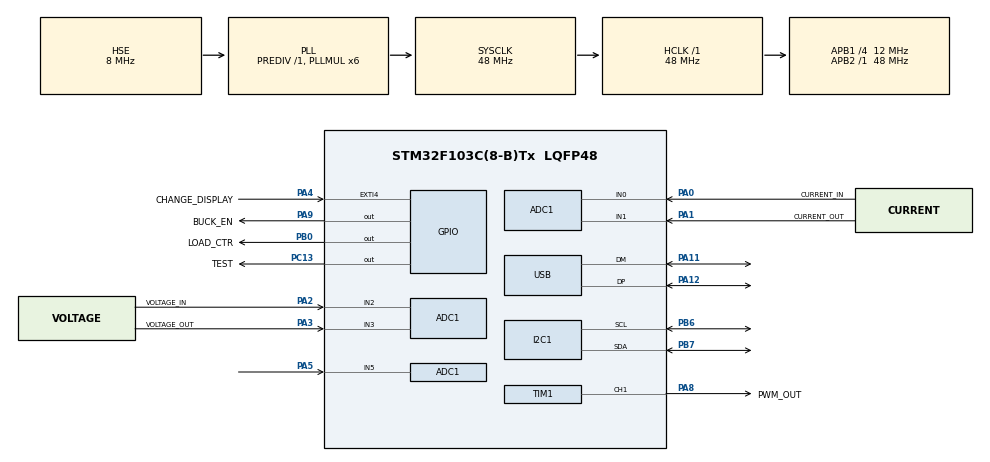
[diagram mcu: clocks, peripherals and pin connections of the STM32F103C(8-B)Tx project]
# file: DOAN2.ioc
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ADC1.Channel-7\#ChannelRegularConversion=ADC_CHANNEL_2
ADC1.Channel-8\#ChannelRegularConversion=ADC_CHANNEL_3
ADC1.NbrOfConversion=2
ADC1.NbrOfConversionFlag=1
ADC1.Rank-7\#ChannelRegularConversion=1
ADC1.Rank-8\#ChannelRegularConversion=2
ADC1.SamplingTime-7\#ChannelRegularConversion=ADC_SAMPLETIME_1CYCLE_5
ADC1.SamplingTime-8\#ChannelRegularConversion=ADC_SAMPLETIME_1CYCLE_5
ADC1.master=1
Dma.ADC1.0.Direction=DMA_PERIPH_TO_MEMORY
Dma.ADC1.0.Instance=DMA1_Channel1
Dma.ADC1.0.MemDataAlignment=DMA_MDATAALIGN_WORD
Dma.ADC1.0.MemInc=DMA_MINC_ENABLE
Dma.ADC1.0.Mode=DMA_CIRCULAR
Dma.ADC1.0.PeriphDataAlignment=DMA_PDATAALIGN_WORD
Dma.ADC1.0.PeriphInc=DMA_PINC_DISABLE
Dma.ADC1.0.Priority=DMA_PRIORITY_LOW
Dma.Request0=ADC1
I2C1.I2C_Mode=I2C_Standard
Mcu.Family=STM32F1
Mcu.Name=STM32F103C(8-B)Tx
Mcu.Package=LQFP48
NVIC.DMA1_Channel1_IRQn=true\:0\:0\:false\:false\:true\:false\:true\:true
NVIC.EXTI4_IRQn=true\:0\:0\:false\:false\:true\:true\:true\:true
NVIC.PriorityGroup=NVIC_PRIORITYGROUP_4
PA0-WKUP.GPIO_Label=CURRENT_IN
PA0-WKUP.Signal=ADCx_IN0
PA1.GPIO_Label=CURRENT_OUT
PA1.Signal=ADCx_IN1
PA11.Mode=Device
PA11.Signal=USB_DM
PA12.Mode=Device
PA12.Signal=USB_DP
PA13.Mode=Serial_Wire
PA13.Signal=SYS_JTMS-SWDIO
PA14.Mode=Serial_Wire
PA14.Signal=SYS_JTCK-SWCLK
PA2.GPIO_Label=VOLTAGE_IN
PA2.Signal=ADCx_IN2
PA3.GPIO_Label=VOLTAGE_OUT
PA3.Signal=ADCx_IN3
PA4.GPIO_Label=CHANGE_DISPLAY
PA4.GPIO_ModeDefaultEXTI=GPIO_MODE_IT_FALLING
PA4.GPIO_PuPd=GPIO_PULLUP
PA4.Signal=GPXTI4
PA5.Signal=ADCx_IN5
PA8.GPIO_Label=PWM_OUT
PA8.Signal=S_TIM1_CH1
PA9.GPIO_Label=BUCK_EN
PA9.Signal=GPIO_Output
PB0.GPIO_Label=LOAD_CTR
PB0.Signal=GPIO_Output
PB6.Mode=I2C
PB6.Signal=I2C1_SCL
PB7.Mode=I2C
PB7.Signal=I2C1_SDA
PC13-TAMPER-RTC.GPIO_Label=TEST
PC13-TAMPER-RTC.Signal=GPIO_Output
PD0-OSC_IN.Mode=HSE-External-Oscillator
PD0-OSC_IN.Signal=RCC_OSC_IN
PD1-OSC_OUT.Mode=HSE-External-Oscillator
PD1-OSC_OUT.Signal=RCC_OSC_OUT
ProjectManager.HeapSize=0x200
ProjectManager.StackSize=0x400
ProjectManager.TargetToolchain=STM32CubeIDE
RCC.ADCPresc=RCC_ADCPCLK2_DIV4
RCC.AHBFreq_Value=48000000
RCC.APB1CLKDivider=RCC_HCLK_DIV4
RCC.APB1Freq_Value=12000000
RCC.APB1TimFreq_Value=24000000
RCC.APB2Freq_Value=48000000
RCC.APB2TimFreq_Value=48000000
RCC.HCLKFreq_Value=48000000
RCC.PLLMUL=RCC_PLL_MUL6
RCC.SYSCLKFreq_VALUE=48000000
RCC.SYSCLKSource=RCC_SYSCLKSOURCE_PLLCLK
RCC.USBFreq_Value=48000000
SH.ADCx_IN0.0=ADC1_IN0,IN0
SH.ADCx_IN1.0=ADC1_IN1,IN1
SH.ADCx_IN2.0=ADC1_IN2,IN2
SH.ADCx_IN3.0=ADC1_IN3,IN3
SH.ADCx_IN5.0=ADC1_IN5,IN5
SH.S_TIM1_CH1.0=TIM1_CH1,PWM Generation1 CH1
TIM1.Channel-PWM\ Generation1\ CH1=TIM_CHANNEL_1
TIM1.Period=100-1
TIM1.Prescaler=1
VP_TIM1_VS_ClockSourceINT.Mode=Internal
board=custom

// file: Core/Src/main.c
/* USER CODE BEGIN Header */
/**
  ******************************************************************************
  * @file           : main.c
  * @brief          : Main program body
  ******************************************************************************
  * @attention
  *
  * Copyright (c) 2024 STMicroelectronics.
  * All rights reserved.
  *
  * This software is licensed under terms that can be found in the LICENSE file
  * in the root directory of this software component.
  * If no LICENSE file comes with this software, it is provided AS-IS.
  *
  ******************************************************************************
  */
/* USER CODE END Header */
#include "main.h"

/* USER CODE BEGIN PTD */
state_display display = POWER_DISPLAY;
/* USER CODE END PTD */

ADC_HandleTypeDef hadc1;
DMA_HandleTypeDef hdma_adc1;

I2C_HandleTypeDef hi2c1;

TIM_HandleTypeDef htim1;

PCD_HandleTypeDef hpcd_USB_FS;

void SystemClock_Config(void);
static void MX_GPIO_Init(void);
static void MX_DMA_Init(void);
static void MX_ADC1_Init(void);
static void MX_I2C1_Init(void);
static void MX_TIM1_Init(void);
static void MX_USB_PCD_Init(void);
/* USER CODE BEGIN PFP */
void HAL_GPIO_EXTI_Callback(uint16_t GPIO_Pin);
/* USER CODE END PFP */

/* USER CODE BEGIN 0 */
uint32_t adc_value[2];
uint8_t dutyCycle = 70;
float currentOut,currentIn,voltageIn,voltageOut;
float Power_Out_Previous = 0,Power_Out_Current = 0;
float Power_In_Current = 0;
  /* NOTE : This function should not be modified. When the callback is needed,
            function HAL_ADC_ConvCpltCallback must be implemented in the user file.
   */
/* USER CODE END 0 */

int main(void)
{

  /* MCU Configuration--------------------------------------------------------*/

  /* Reset of all peripherals, Initializes the Flash interface and the Systick. */
  HAL_Init();

  /* Configure the system clock */
  SystemClock_Config();

  /* Initialize all configured peripherals */
  MX_GPIO_Init();
  MX_DMA_Init();
  MX_ADC1_Init();
  MX_I2C1_Init();
  MX_TIM1_Init();
  MX_USB_PCD_Init();
  /* USER CODE BEGIN 2 */
  lcd_init();
  lcd_clear_display();
  PWM_Control(dutyCycle,100000);
  PWM_Enable();

  //PWM_Control(50, 1);

  /* USER CODE END 2 */

  /* Infinite loop */
  while (1)
  {

    /* USER CODE BEGIN 3 */

	  loadControl(0);
	  HAL_ADC_Start_DMA(&hadc1,adc_value, 2);
	 // currentIn = getCurrentIn(adc_value[0]);
	  //currentOut = ((float)adc_value[1]/4096)*3.3;
	  voltageIn =  ((float)adc_value[0]/4096)*3.3*5.68;
	  voltageOut = ((float)adc_value[1]/4096)*3.3*5.68;
	  if(voltageOut <2)
	  {
		  voltageOut = 0;
	  }
	  if(voltageIn < 2)
	  {
		  voltageIn = 0;
	  }
	  Power_Out_Current = voltageOut * currentOut;
	  Power_In_Current = voltageIn * currentIn;

	  int Voltage_Out_N = voltageOut/1;
	  int Voltage_Out_T = ((voltageOut - Voltage_Out_N)*100)/1;
	  int Voltage_In_N = voltageIn/1;
	  int Voltage_In_T = ((voltageIn - Voltage_In_N)*100)/1;

	  /*
	  int Power_Out_Current_N = Power_Out_Current/1;
	  int Power_Out_Current_T = ((Power_Out_Current - Power_Out_Current_N)*100)/1;
	  int Power_In_Current_N = Power_In_Current/1;
	  int Power_In_Current_T = ((Power_In_Current - Power_In_Current_T)*100)/1;

	  if(Power_Out_Current > Power_Out_Previous)
	  {
		  dutyCycle = dutyCycle + 1;
	  }
	  else
	  {
		  dutyCycle = dutyCycle - 1;
	  }
	  */

	  Power_Out_Previous = Power_Out_Current;
	  PWM_Control(dutyCycle, 100000);

	  lcd_display(Voltage_In_N,Voltage_In_T,Voltage_Out_N,Voltage_Out_T);
	  HAL_Delay(1000);
	  if(voltageIn >= 15 && voltageIn <=18.5)
	  {
		  buckControl(1);
	  }
	  else
	  {
		  buckControl(0);
	  }
  }
  /* USER CODE END 3 */
}

void SystemClock_Config(void)
{
  RCC_OscInitTypeDef RCC_OscInitStruct = {0};
  RCC_ClkInitTypeDef RCC_ClkInitStruct = {0};
  RCC_PeriphCLKInitTypeDef PeriphClkInit = {0};

  /** Initializes the RCC Oscillators according to the specified parameters
  * in the RCC_OscInitTypeDef structure.
  */
  RCC_OscInitStruct.OscillatorType = RCC_OSCILLATORTYPE_HSE;
  RCC_OscInitStruct.HSEState = RCC_HSE_ON;
  RCC_OscInitStruct.HSEPredivValue = RCC_HSE_PREDIV_DIV1;
  RCC_OscInitStruct.HSIState = RCC_HSI_ON;
  RCC_OscInitStruct.PLL.PLLState = RCC_PLL_ON;
  RCC_OscInitStruct.PLL.PLLSource = RCC_PLLSOURCE_HSE;
  RCC_OscInitStruct.PLL.PLLMUL = RCC_PLL_MUL6;
  if (HAL_RCC_OscConfig(&RCC_OscInitStruct) != HAL_OK)
  {
    Error_Handler();
  }

  /** Initializes the CPU, AHB and APB buses clocks
  */
  RCC_ClkInitStruct.ClockType = RCC_CLOCKTYPE_HCLK|RCC_CLOCKTYPE_SYSCLK
                              |RCC_CLOCKTYPE_PCLK1|RCC_CLOCKTYPE_PCLK2;
  RCC_ClkInitStruct.SYSCLKSource = RCC_SYSCLKSOURCE_PLLCLK;
  RCC_ClkInitStruct.AHBCLKDivider = RCC_SYSCLK_DIV1;
  RCC_ClkInitStruct.APB1CLKDivider = RCC_HCLK_DIV4;
  RCC_ClkInitStruct.APB2CLKDivider = RCC_HCLK_DIV1;

  if (HAL_RCC_ClockConfig(&RCC_ClkInitStruct, FLASH_LATENCY_1) != HAL_OK)
  {
    Error_Handler();
  }
  PeriphClkInit.PeriphClockSelection = RCC_PERIPHCLK_ADC|RCC_PERIPHCLK_USB;
  PeriphClkInit.AdcClockSelection = RCC_ADCPCLK2_DIV4;
  PeriphClkInit.UsbClockSelection = RCC_USBCLKSOURCE_PLL;
  if (HAL_RCCEx_PeriphCLKConfig(&PeriphClkInit) != HAL_OK)
  {
    Error_Handler();
  }
}

static void MX_ADC1_Init(void)
{

  ADC_ChannelConfTypeDef sConfig = {0};

  /** Common config
  */
  hadc1.Instance = ADC1;
  hadc1.Init.ScanConvMode = ADC_SCAN_ENABLE;
  hadc1.Init.ContinuousConvMode = DISABLE;
  hadc1.Init.DiscontinuousConvMode = DISABLE;
  hadc1.Init.ExternalTrigConv = ADC_SOFTWARE_START;
  hadc1.Init.DataAlign = ADC_DATAALIGN_RIGHT;
  hadc1.Init.NbrOfConversion = 2;
  if (HAL_ADC_Init(&hadc1) != HAL_OK)
  {
    Error_Handler();
  }

  /** Configure Regular Channel
  */
  sConfig.Channel = ADC_CHANNEL_2;
  sConfig.Rank = ADC_REGULAR_RANK_1;
  sConfig.SamplingTime = ADC_SAMPLETIME_1CYCLE_5;
  if (HAL_ADC_ConfigChannel(&hadc1, &sConfig) != HAL_OK)
  {
    Error_Handler();
  }

  /** Configure Regular Channel
  */
  sConfig.Channel = ADC_CHANNEL_3;
  sConfig.Rank = ADC_REGULAR_RANK_2;
  if (HAL_ADC_ConfigChannel(&hadc1, &sConfig) != HAL_OK)
  {
    Error_Handler();
  }

}

static void MX_I2C1_Init(void)
{

  hi2c1.Instance = I2C1;
  hi2c1.Init.ClockSpeed = 100000;
  hi2c1.Init.DutyCycle = I2C_DUTYCYCLE_2;
  hi2c1.Init.OwnAddress1 = 0;
  hi2c1.Init.AddressingMode = I2C_ADDRESSINGMODE_7BIT;
  hi2c1.Init.DualAddressMode = I2C_DUALADDRESS_DISABLE;
  hi2c1.Init.OwnAddress2 = 0;
  hi2c1.Init.GeneralCallMode = I2C_GENERALCALL_DISABLE;
  hi2c1.Init.NoStretchMode = I2C_NOSTRETCH_DISABLE;
  if (HAL_I2C_Init(&hi2c1) != HAL_OK)
  {
    Error_Handler();
  }

}

static void MX_TIM1_Init(void)
{

  TIM_ClockConfigTypeDef sClockSourceConfig = {0};
  TIM_MasterConfigTypeDef sMasterConfig = {0};
  TIM_OC_InitTypeDef sConfigOC = {0};
  TIM_BreakDeadTimeConfigTypeDef sBreakDeadTimeConfig = {0};

  htim1.Instance = TIM1;
  htim1.Init.Prescaler = 1;
  htim1.Init.CounterMode = TIM_COUNTERMODE_UP;
  htim1.Init.Period = 100-1;
  htim1.Init.ClockDivision = TIM_CLOCKDIVISION_DIV1;
  htim1.Init.RepetitionCounter = 0;
  htim1.Init.AutoReloadPreload = TIM_AUTORELOAD_PRELOAD_DISABLE;
  if (HAL_TIM_Base_Init(&htim1) != HAL_OK)
  {
    Error_Handler();
  }
  sClockSourceConfig.ClockSource = TIM_CLOCKSOURCE_INTERNAL;
  if (HAL_TIM_ConfigClockSource(&htim1, &sClockSourceConfig) != HAL_OK)
  {
    Error_Handler();
  }
  if (HAL_TIM_PWM_Init(&htim1) != HAL_OK)
  {
    Error_Handler();
  }
  sMasterConfig.MasterOutputTrigger = TIM_TRGO_RESET;
  sMasterConfig.MasterSlaveMode = TIM_MASTERSLAVEMODE_DISABLE;
  if (HAL_TIMEx_MasterConfigSynchronization(&htim1, &sMasterConfig) != HAL_OK)
  {
    Error_Handler();
  }
  sConfigOC.OCMode = TIM_OCMODE_PWM1;
  sConfigOC.Pulse = 0;
  sConfigOC.OCPolarity = TIM_OCPOLARITY_HIGH;
  sConfigOC.OCNPolarity = TIM_OCNPOLARITY_HIGH;
  sConfigOC.OCFastMode = TIM_OCFAST_DISABLE;
  sConfigOC.OCIdleState = TIM_OCIDLESTATE_RESET;
  sConfigOC.OCNIdleState = TIM_OCNIDLESTATE_RESET;
  if (HAL_TIM_PWM_ConfigChannel(&htim1, &sConfigOC, TIM_CHANNEL_1) != HAL_OK)
  {
    Error_Handler();
  }
  sBreakDeadTimeConfig.OffStateRunMode = TIM_OSSR_DISABLE;
  sBreakDeadTimeConfig.OffStateIDLEMode = TIM_OSSI_DISABLE;
  sBreakDeadTimeConfig.LockLevel = TIM_LOCKLEVEL_OFF;
  sBreakDeadTimeConfig.DeadTime = 0;
  sBreakDeadTimeConfig.BreakState = TIM_BREAK_DISABLE;
  sBreakDeadTimeConfig.BreakPolarity = TIM_BREAKPOLARITY_HIGH;
  sBreakDeadTimeConfig.AutomaticOutput = TIM_AUTOMATICOUTPUT_DISABLE;
  if (HAL_TIMEx_ConfigBreakDeadTime(&htim1, &sBreakDeadTimeConfig) != HAL_OK)
  {
    Error_Handler();
  }
  HAL_TIM_MspPostInit(&htim1);

}

static void MX_USB_PCD_Init(void)
{

  hpcd_USB_FS.Instance = USB;
  hpcd_USB_FS.Init.dev_endpoints = 8;
  hpcd_USB_FS.Init.speed = PCD_SPEED_FULL;
  hpcd_USB_FS.Init.low_power_enable = DISABLE;
  hpcd_USB_FS.Init.lpm_enable = DISABLE;
  hpcd_USB_FS.Init.battery_charging_enable = DISABLE;
  if (HAL_PCD_Init(&hpcd_USB_FS) != HAL_OK)
  {
    Error_Handler();
  }

}

static void MX_DMA_Init(void)
{

  /* DMA controller clock enable */
  __HAL_RCC_DMA1_CLK_ENABLE();

  /* DMA interrupt init */
  /* DMA1_Channel1_IRQn interrupt configuration */
  HAL_NVIC_SetPriority(DMA1_Channel1_IRQn, 0, 0);
  HAL_NVIC_EnableIRQ(DMA1_Channel1_IRQn);

}

static void MX_GPIO_Init(void)
{
  GPIO_InitTypeDef GPIO_InitStruct = {0};

  /* GPIO Ports Clock Enable */
  __HAL_RCC_GPIOC_CLK_ENABLE();
  __HAL_RCC_GPIOD_CLK_ENABLE();
  __HAL_RCC_GPIOA_CLK_ENABLE();
  __HAL_RCC_GPIOB_CLK_ENABLE();

  /*Configure GPIO pin Output Level */
  HAL_GPIO_WritePin(TEST_GPIO_Port, TEST_Pin, GPIO_PIN_RESET);

  /*Configure GPIO pin Output Level */
  HAL_GPIO_WritePin(LOAD_CTR_GPIO_Port, LOAD_CTR_Pin, GPIO_PIN_RESET);

  /*Configure GPIO pin Output Level */
  HAL_GPIO_WritePin(BUCK_EN_GPIO_Port, BUCK_EN_Pin, GPIO_PIN_RESET);

  /*Configure GPIO pin : TEST_Pin */
  GPIO_InitStruct.Pin = TEST_Pin;
  GPIO_InitStruct.Mode = GPIO_MODE_OUTPUT_PP;
  GPIO_InitStruct.Pull = GPIO_NOPULL;
  GPIO_InitStruct.Speed = GPIO_SPEED_FREQ_LOW;
  HAL_GPIO_Init(TEST_GPIO_Port, &GPIO_InitStruct);

  /*Configure GPIO pin : CHANGE_DISPLAY_Pin */
  GPIO_InitStruct.Pin = CHANGE_DISPLAY_Pin;
  GPIO_InitStruct.Mode = GPIO_MODE_IT_FALLING;
  GPIO_InitStruct.Pull = GPIO_PULLUP;
  HAL_GPIO_Init(CHANGE_DISPLAY_GPIO_Port, &GPIO_InitStruct);

  /*Configure GPIO pin : LOAD_CTR_Pin */
  GPIO_InitStruct.Pin = LOAD_CTR_Pin;
  GPIO_InitStruct.Mode = GPIO_MODE_OUTPUT_PP;
  GPIO_InitStruct.Pull = GPIO_NOPULL;
  GPIO_InitStruct.Speed = GPIO_SPEED_FREQ_LOW;
  HAL_GPIO_Init(LOAD_CTR_GPIO_Port, &GPIO_InitStruct);

  /*Configure GPIO pin : BUCK_EN_Pin */
  GPIO_InitStruct.Pin = BUCK_EN_Pin;
  GPIO_InitStruct.Mode = GPIO_MODE_OUTPUT_PP;
  GPIO_InitStruct.Pull = GPIO_NOPULL;
  GPIO_InitStruct.Speed = GPIO_SPEED_FREQ_LOW;
  HAL_GPIO_Init(BUCK_EN_GPIO_Port, &GPIO_InitStruct);

  /* EXTI interrupt init*/
  HAL_NVIC_SetPriority(EXTI4_IRQn, 0, 0);
  HAL_NVIC_EnableIRQ(EXTI4_IRQn);

}

/* USER CODE BEGIN 4 */
void HAL_GPIO_EXTI_Callback(uint16_t GPIO_Pin)
{
	if(GPIO_Pin == CHANGE_DISPLAY_Pin)
	{
		switch(display)
		{
		case POWER_DISPLAY:
			display= STATUS_SYSTEM;
		break;
		case STATUS_SYSTEM:
			display= VOL_DISPLAY;
		break;
		case VOL_DISPLAY:
			display= CURR_DISPLAY;
		break;
		case CURR_DISPLAY:
			display= POWER_DISPLAY;
		break;
		default: break;
		}
	} else
	{
		__NOP();
	}

}
/* USER CODE END 4 */

void Error_Handler(void)
{
  __disable_irq();
  while (1)
  {
  }
}
